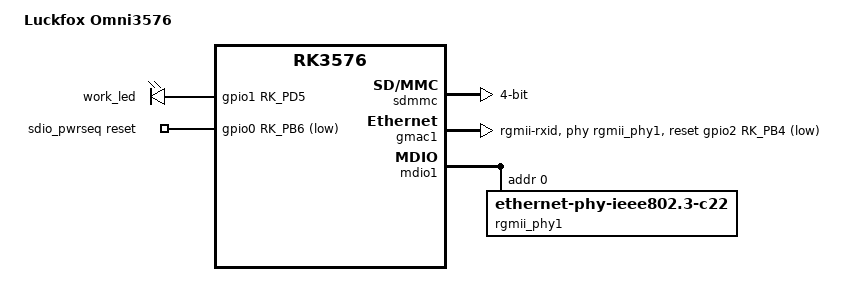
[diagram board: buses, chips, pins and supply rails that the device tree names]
// SPDX-License-Identifier: (GPL-2.0+ OR MIT)
/*
 * Copyright (c) 2024 Luckfox Technology Co., Ltd.
 *
 */
/dts-v1/;

#include "luckfox-core3576.dtsi"
#include "luckfox-omni3576-can.dtsi"
#include "luckfox-omni3576-cam.dtsi"
#include "luckfox-omni3576-usb.dtsi"
#include "luckfox-omni3576-usb-c.dtsi"
#include "luckfox-omni3576-pcie.dtsi"
#include "luckfox-omni3576-display.dtsi"
#include "luckfox-omni3576-wireless.dtsi"
#include "luckfox-omni3576-codec.dtsi"
#include "luckfox-omni3576-ir.dtsi"
#include "rk3576-linux.dtsi"

/ {
	model = "Luckfox Omni3576";
	compatible = "luckfox,omni3576", "rockchip,rk3576";
	leds: leds {
		compatible = "gpio-leds";
		work_led: work{
			gpios = <&gpio1 RK_PD5 GPIO_ACTIVE_HIGH>;
			linux,default-trigger = "activity";
			default-state = "on";
		};
	};
	sdio_pwrseq: sdio-pwrseq {
		compatible = "mmc-pwrseq-simple";
		pinctrl-names = "default";
		pinctrl-0 = <&wifi_poweren_gpio>;

		/*
		 * On the module itself this is one of these (depending
		 * on the actual card populated):
		 * - SDIO_RESET_L_WL_REG_ON
		 * - PDN (power down when low)
		 */
		post-power-on-delay-ms = <200>;
		reset-gpios = <&gpio0 RK_PB6 GPIO_ACTIVE_LOW>;
		status = "okay";
	};
};

&sdmmc {
	max-frequency = <200000000>;
	no-sdio;
	no-mmc;
	bus-width = <4>;
	cap-mmc-highspeed;
	cap-sd-highspeed;
	disable-wp;
	sd-uhs-sdr104;
	mmc-pwrseq = <&sdio_pwrseq>;
	vqmmc-supply = <&vccio_sd_s0>;
	status = "okay";
};

&gmac1 {
	/* Use rgmii-rxid mode to disable rx delay inside Soc */
	phy-mode = "rgmii-rxid";
	clock_in_out = "output";

	snps,reset-gpio = <&gpio2 RK_PB4 GPIO_ACTIVE_LOW>;
	snps,reset-active-low;
	/* Reset time is 20ms, 100ms for rtl8211f */
	snps,reset-delays-us = <0 20000 100000>;

	pinctrl-names = "default";
	pinctrl-0 = <&eth1m0_miim
		     &eth1m0_tx_bus2
		     &eth1m0_rx_bus2
		     &eth1m0_rgmii_clk
		     &eth1m0_rgmii_bus
		     &ethm0_clk1_25m_out>;

	tx_delay = <0x20>;
	/* rx_delay = <0x3f>; */

	phy-handle = <&rgmii_phy1>;
	status = "okay";
};

&mdio1 {
	rgmii_phy1: phy@1 {
		compatible = "ethernet-phy-ieee802.3-c22";
		reg = <0x0>;
		clocks = <&cru REFCLKO25M_GMAC1_OUT>;
	};
};
